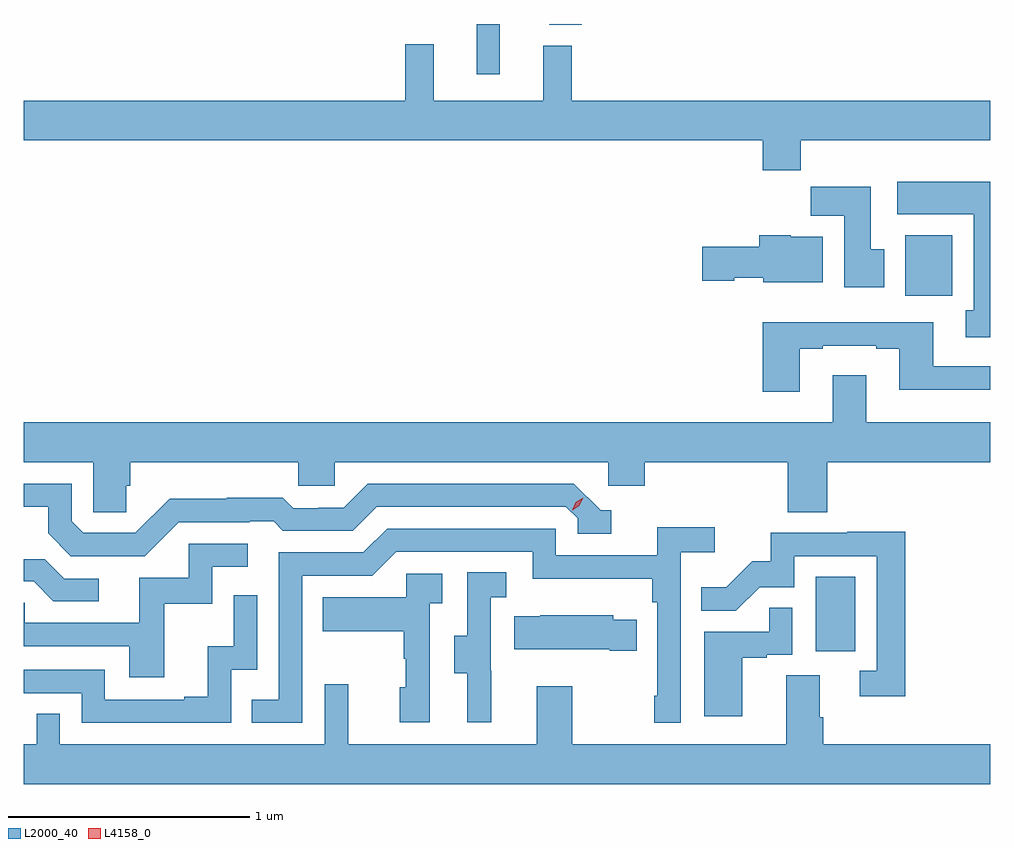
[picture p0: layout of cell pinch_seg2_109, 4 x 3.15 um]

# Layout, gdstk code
import gdstk
lib = gdstk.Library(unit=1e-6, precision=1e-09)
def R(c, l, rs):  # rectangles x0, y0, x1, y1
    for r in rs: c.add(gdstk.rectangle(r[:2], r[2:], *l))
def P(c, l, *ps):  # polygons
    for p in ps: c.add(gdstk.Polygon(p, *l))
L2000_40 = (2000, 40)
L4158_0 = (4158, 0)

pinch_seg2_109 = lib.new_cell('pinch_seg2_109')
R(pinch_seg2_109, L2000_40, [(1032.272,630.87,1032.436,631.177), (1032.641,632.34,1032.837,632.59), (1030.868,633.258,1030.965,633.465), (1031.168,633.461,1031.303,633.465)])
P(pinch_seg2_109, L2000_40, [(1032.053,632.86),(1032.209,632.86),(1032.209,632.984),(1032.994,632.984),(1032.994,633.148),(1031.261,633.148),(1031.261,633.376),(1031.144,633.376),(1031.144,633.148),(1030.691,633.148),(1030.691,633.382),(1030.573,633.382),(1030.573,633.148),(1028.994,633.148),(1028.994,632.984),(1032.053,632.984)],
  [(1032.994,632.812),(1032.609,632.812),(1032.609,632.678),(1032.926,632.678),(1032.926,632.281),(1032.893,632.281),(1032.893,632.169),(1032.994,632.169)],
  [(1032.556,632.532),(1032.499,632.532),(1032.499,632.791),(1032.25,632.791),(1032.25,632.672),(1032.389,632.672),(1032.389,632.376),(1032.556,632.376)],
  [(1032.301,632.584),(1032.168,632.584),(1032.168,632.59),(1032.038,632.59),(1032.038,632.544),(1031.802,632.544),(1031.802,632.402),(1031.934,632.402),(1031.934,632.414),(1032.054,632.414),(1032.054,632.396),(1032.301,632.396)],
  [(1032.205,632.121),(1032.301,632.121),(1032.301,632.133),(1032.521,632.133),(1032.521,632.121),(1032.617,632.121),(1032.617,631.952),(1032.994,631.952),(1032.994,632.049),(1032.757,632.049),(1032.757,632.23),(1032.053,632.23),(1032.053,631.944),(1032.205,631.944)],
  [(1029.419,631.554),(1029.434,631.554),(1029.434,631.652),(1030.131,631.652),(1030.131,631.554),(1030.281,631.554),(1030.281,631.652),(1031.412,631.652),(1031.412,631.554),(1031.564,631.554),(1031.564,631.652),(1032.155,631.652),(1032.155,631.444),(1032.32,631.444),(1032.32,631.652),(1032.994,631.652),(1032.994,631.816),(1032.481,631.816),(1032.481,632.011),(1032.341,632.011),(1032.341,631.816),(1028.994,631.816),(1028.994,631.652),(1029.282,631.652),(1029.282,631.444),(1029.419,631.444)],
  [(1029.636,631.404),(1029.929,631.404),(1029.929,631.407),(1030.028,631.407),(1030.067,631.368),(1030.356,631.368),(1030.455,631.467),(1031.238,631.467),(1031.286,631.419),(1031.286,631.356),(1031.425,631.356),(1031.425,631.452),(1031.382,631.452),(1031.271,631.563),(1030.418,631.563),(1030.319,631.464),(1030.212,631.464),(1030.212,631.461),(1030.109,631.461),(1030.067,631.504),(1029.834,631.504),(1029.834,631.501),(1029.598,631.501),(1029.456,631.359),(1029.24,631.359),(1029.192,631.407),(1029.192,631.563),(1028.994,631.563),(1028.994,631.467),(1029.095,631.467),(1029.095,631.357),(1029.189,631.263),(1029.495,631.263)],
  [(1030.146,631.182),(1030.437,631.182),(1030.536,631.281),(1031.1,631.281),(1031.1,631.169),(1031.596,631.169),(1031.596,631.073),(1031.616,631.073),(1031.616,630.685),(1031.603,630.685),(1031.603,630.573),(1031.712,630.573),(1031.712,631.28),(1031.853,631.28),(1031.853,631.382),(1031.615,631.382),(1031.615,631.266),(1031.196,631.266),(1031.196,631.377),(1030.499,631.377),(1030.4,631.278),(1030.05,631.278),(1030.05,630.669),(1029.937,630.669),(1029.937,630.573),(1030.146,630.573)],
  [(1032.641,631.364),(1032.403,631.364),(1032.403,631.359),(1032.085,631.359),(1032.085,631.242),(1032.008,631.242),(1031.901,631.135),(1031.797,631.135),(1031.797,631.036),(1031.941,631.036),(1032.039,631.134),(1032.183,631.134),(1032.183,631.263),(1032.525,631.263),(1032.525,630.789),(1032.453,630.789),(1032.453,630.684),(1032.641,630.684)],
  [(1029.575,631.065),(1029.774,631.065),(1029.774,631.218),(1029.922,631.218),(1029.922,631.314),(1029.678,631.314),(1029.678,631.173),(1029.473,631.173),(1029.473,630.987),(1028.999,630.987),(1028.999,631.071),(1028.994,631.071),(1028.994,630.891),(1029.431,630.891),(1029.431,630.762),(1029.575,630.762)],
  [(1029.304,631.17),(1029.162,631.17),(1029.082,631.25),(1028.994,631.25),(1028.994,631.158),(1029.035,631.158),(1029.116,631.077),(1029.304,631.077)],
  [(1030.928,630.789),(1030.926,630.789),(1030.926,631.093),(1030.99,631.093),(1030.99,631.196),(1030.83,631.196),(1030.83,630.933),(1030.775,630.933),(1030.775,630.778),(1030.829,630.778),(1030.829,630.576),(1030.928,630.576)],
  [(1030.674,631.067),(1030.726,631.067),(1030.726,631.191),(1030.578,631.191),(1030.578,631.093),(1030.231,631.093),(1030.231,630.953),(1030.566,630.953),(1030.566,630.839),(1030.576,630.839),(1030.576,630.72),(1030.55,630.72),(1030.55,630.576),(1030.674,630.576)],
  [(1029.852,630.792),(1029.96,630.792),(1029.96,631.102),(1029.864,631.102),(1029.864,630.89),(1029.755,630.89),(1029.755,630.682),(1029.659,630.682),(1029.659,630.669),(1029.33,630.669),(1029.33,630.792),(1028.994,630.792),(1028.994,630.696),(1029.234,630.696),(1029.234,630.573),(1029.852,630.573)],
  [(1031.968,630.843),(1032.068,630.843),(1032.068,630.855),(1032.174,630.855),(1032.174,631.049),(1032.079,631.049),(1032.079,630.951),(1031.81,630.951),(1031.81,630.6),(1031.968,630.6)],
  [(1031.531,631),(1031.433,631),(1031.433,631.018),(1031.131,631.018),(1031.131,631.015),(1031.023,631.015),(1031.023,630.878),(1031.42,630.878),(1031.42,630.871),(1031.531,630.871)],
  [(1032.994,630.484),(1032.302,630.484),(1032.302,630.596),(1032.289,630.596),(1032.289,630.77),(1032.149,630.77),(1032.149,630.484),(1031.265,630.484),(1031.265,630.724),(1031.117,630.724),(1031.117,630.484),(1030.337,630.484),(1030.337,630.733),(1030.239,630.733),(1030.239,630.484),(1029.144,630.484),(1029.144,630.611),(1029.048,630.611),(1029.048,630.484),(1028.994,630.484),(1028.994,630.32),(1032.994,630.32)])
P(pinch_seg2_109, L4158_0, [(1031.263,631.453),(1031.263,631.453),(1031.279,631.485),(1031.31,631.504),(1031.31,631.504),(1031.31,631.504),(1031.294,631.471),(1031.263,631.453)])

lib.write_gds('pinch_seg2_109.gds')
